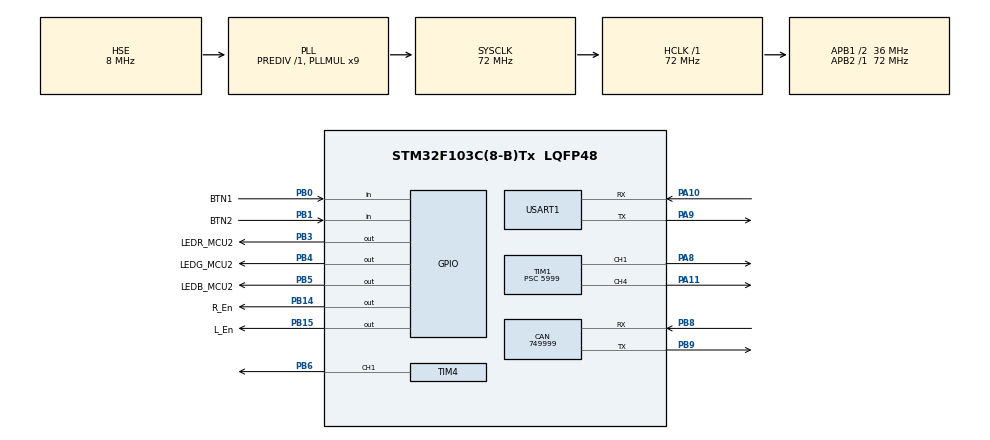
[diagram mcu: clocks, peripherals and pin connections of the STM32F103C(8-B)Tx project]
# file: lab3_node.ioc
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CAN.CalculateBaudRate=749999
CAN.CalculateTimeBit=1333
CAN.CalculateTimeQuantum=444.44444444444446
Mcu.Family=STM32F1
Mcu.Name=STM32F103C(8-B)Tx
Mcu.Package=LQFP48
NVIC.PriorityGroup=NVIC_PRIORITYGROUP_4
PA10.Mode=Asynchronous
PA10.Signal=USART1_RX
PA11.Signal=S_TIM1_CH4
PA13.Mode=Serial_Wire
PA13.Signal=SYS_JTMS-SWDIO
PA14.Mode=Serial_Wire
PA14.Signal=SYS_JTCK-SWCLK
PA8.Signal=S_TIM1_CH1
PA9.Mode=Asynchronous
PA9.Signal=USART1_TX
PB0.GPIO_Label=BTN1
PB0.GPIO_PuPd=GPIO_NOPULL
PB0.Signal=GPIO_Input
PB1.GPIO_Label=BTN2
PB1.GPIO_PuPd=GPIO_NOPULL
PB1.Signal=GPIO_Input
PB14.GPIO_Label=R_En
PB14.GPIO_Speed=GPIO_SPEED_FREQ_HIGH
PB14.Signal=GPIO_Output
PB15.GPIO_Label=L_En
PB15.GPIO_Speed=GPIO_SPEED_FREQ_HIGH
PB15.Signal=GPIO_Output
PB3.GPIO_Label=LEDR_MCU2
PB3.GPIO_Speed=GPIO_SPEED_FREQ_HIGH
PB3.Signal=GPIO_Output
PB4.GPIO_Label=LEDG_MCU2 
PB4.GPIO_Speed=GPIO_SPEED_FREQ_HIGH
PB4.Signal=GPIO_Output
PB5.GPIO_Label=LEDB_MCU2
PB5.GPIO_Speed=GPIO_SPEED_FREQ_HIGH
PB5.Signal=GPIO_Output
PB6.Signal=S_TIM4_CH1
PB8.Mode=CAN_Activate
PB8.Signal=CAN_RX
PB9.Mode=CAN_Activate
PB9.Signal=CAN_TX
PD0-OSC_IN.Mode=HSE-External-Oscillator
PD0-OSC_IN.Signal=RCC_OSC_IN
PD1-OSC_OUT.Mode=HSE-External-Oscillator
PD1-OSC_OUT.Signal=RCC_OSC_OUT
ProjectManager.HeapSize=0x200
ProjectManager.StackSize=0x400
ProjectManager.TargetToolchain=STM32CubeIDE
RCC.AHBFreq_Value=72000000
RCC.APB1CLKDivider=RCC_HCLK_DIV2
RCC.APB1Freq_Value=36000000
RCC.APB1TimFreq_Value=72000000
RCC.APB2Freq_Value=72000000
RCC.APB2TimFreq_Value=72000000
RCC.HCLKFreq_Value=72000000
RCC.PLLMUL=RCC_PLL_MUL9
RCC.PLLSourceVirtual=RCC_PLLSOURCE_HSE
RCC.SYSCLKFreq_VALUE=72000000
RCC.SYSCLKSource=RCC_SYSCLKSOURCE_PLLCLK
RCC.USBFreq_Value=72000000
SH.S_TIM1_CH1.0=TIM1_CH1,PWM Generation1 CH1
SH.S_TIM1_CH4.0=TIM1_CH4,PWM Generation4 CH4
SH.S_TIM4_CH1.0=TIM4_CH1,PWM Generation1 CH1
TIM1.Channel-PWM\ Generation1\ CH1=TIM_CHANNEL_1
TIM1.Channel-PWM\ Generation4\ CH4=TIM_CHANNEL_4
TIM1.Period=1
TIM1.Prescaler=5999
TIM4.Channel-PWM\ Generation1\ CH1=TIM_CHANNEL_1
TIM4.Period=39
TIM4.Prescaler=35999
USART1.VirtualMode=VM_ASYNC
board=custom

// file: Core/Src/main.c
/* USER CODE BEGIN Header */
/**
  ******************************************************************************
  * @file           : main.c
  * @brief          : Main program body
  ******************************************************************************
  * @attention
  *
  * Copyright (c) 2023 STMicroelectronics.
  * All rights reserved.
  *
  * This software is licensed under terms that can be found in the LICENSE file
  * in the root directory of this software component.
  * If no LICENSE file comes with this software, it is provided AS-IS.
  *
  ******************************************************************************
  */
/* USER CODE END Header */
#include "main.h"

/* USER CODE BEGIN Includes */
#include <stdio.h>
#include <string.h>
/* USER CODE END Includes */

CAN_HandleTypeDef hcan;

TIM_HandleTypeDef htim1;
TIM_HandleTypeDef htim4;

UART_HandleTypeDef huart1;

void SystemClock_Config(void);
static void MX_GPIO_Init(void);
static void MX_USART1_UART_Init(void);
static void MX_TIM1_Init(void);
static void MX_CAN_Init(void);
static void MX_TIM4_Init(void);
/* USER CODE BEGIN PFP */
void HAL_CAN_RxFifo1MsgPendingCallback(CAN_HandleTypeDef *hcan);
void run_service();

/* USER CODE END PFP */

/* USER CODE BEGIN 0 */
CAN_TxHeaderTypeDef TxHeader;
CAN_RxHeaderTypeDef RxHeader;
uint8_t TxData[8];
uint8_t RxData[8];

uint32_t TxMailbox;

int check = 0;
/* USER CODE END 0 */

int main(void)
{

  /* MCU Configuration--------------------------------------------------------*/

  /* Reset of all peripherals, Initializes the Flash interface and the Systick. */
  HAL_Init();

  /* Configure the system clock */
  SystemClock_Config();

  /* Initialize all configured peripherals */
  MX_GPIO_Init();
  MX_USART1_UART_Init();
  MX_TIM1_Init();
  MX_CAN_Init();
  MX_TIM4_Init();
  /* USER CODE BEGIN 2 */
  HAL_TIM_PWM_Start(&htim1,TIM_CHANNEL_4);
  HAL_TIM_PWM_Start(&htim4,TIM_CHANNEL_1);
  HAL_CAN_Start(&hcan);

  if (HAL_CAN_ActivateNotification(&hcan, CAN_IT_RX_FIFO1_MSG_PENDING) != HAL_OK)
    {
  	  Error_Handler();
    }

  TxHeader.DLC = 8;
  TxHeader.IDE = CAN_ID_STD;
  TxHeader.RTR = CAN_RTR_DATA;
  TxHeader.StdId = 0x012;
  /* USER CODE END 2 */

  /* Infinite loop */
  /* USER CODE BEGIN WHILE */
  TxData[0] = 3;
  TxData[1] = 6;
  while (1)
  {
    /* USER CODE END WHILE */
	  run_service();
  }
}

void SystemClock_Config(void)
{
  RCC_OscInitTypeDef RCC_OscInitStruct = {0};
  RCC_ClkInitTypeDef RCC_ClkInitStruct = {0};

  /** Initializes the RCC Oscillators according to the specified parameters
  * in the RCC_OscInitTypeDef structure.
  */
  RCC_OscInitStruct.OscillatorType = RCC_OSCILLATORTYPE_HSE;
  RCC_OscInitStruct.HSEState = RCC_HSE_ON;
  RCC_OscInitStruct.HSEPredivValue = RCC_HSE_PREDIV_DIV1;
  RCC_OscInitStruct.HSIState = RCC_HSI_ON;
  RCC_OscInitStruct.PLL.PLLState = RCC_PLL_ON;
  RCC_OscInitStruct.PLL.PLLSource = RCC_PLLSOURCE_HSE;
  RCC_OscInitStruct.PLL.PLLMUL = RCC_PLL_MUL9;
  if (HAL_RCC_OscConfig(&RCC_OscInitStruct) != HAL_OK)
  {
    Error_Handler();
  }

  /** Initializes the CPU, AHB and APB buses clocks
  */
  RCC_ClkInitStruct.ClockType = RCC_CLOCKTYPE_HCLK|RCC_CLOCKTYPE_SYSCLK
                              |RCC_CLOCKTYPE_PCLK1|RCC_CLOCKTYPE_PCLK2;
  RCC_ClkInitStruct.SYSCLKSource = RCC_SYSCLKSOURCE_PLLCLK;
  RCC_ClkInitStruct.AHBCLKDivider = RCC_SYSCLK_DIV1;
  RCC_ClkInitStruct.APB1CLKDivider = RCC_HCLK_DIV2;
  RCC_ClkInitStruct.APB2CLKDivider = RCC_HCLK_DIV1;

  if (HAL_RCC_ClockConfig(&RCC_ClkInitStruct, FLASH_LATENCY_2) != HAL_OK)
  {
    Error_Handler();
  }
}

static void MX_CAN_Init(void)
{

  hcan.Instance = CAN1;
  hcan.Init.Prescaler = 16;
  hcan.Init.Mode = CAN_MODE_NORMAL;
  hcan.Init.SyncJumpWidth = CAN_SJW_1TQ;
  hcan.Init.TimeSeg1 = CAN_BS1_1TQ;
  hcan.Init.TimeSeg2 = CAN_BS2_1TQ;
  hcan.Init.TimeTriggeredMode = DISABLE;
  hcan.Init.AutoBusOff = DISABLE;
  hcan.Init.AutoWakeUp = DISABLE;
  hcan.Init.AutoRetransmission = DISABLE;
  hcan.Init.ReceiveFifoLocked = DISABLE;
  hcan.Init.TransmitFifoPriority = DISABLE;
  if (HAL_CAN_Init(&hcan) != HAL_OK)
  {
    Error_Handler();
  }

}

static void MX_TIM1_Init(void)
{

  TIM_MasterConfigTypeDef sMasterConfig = {0};
  TIM_OC_InitTypeDef sConfigOC = {0};
  TIM_BreakDeadTimeConfigTypeDef sBreakDeadTimeConfig = {0};

  htim1.Instance = TIM1;
  htim1.Init.Prescaler = 5999;
  htim1.Init.CounterMode = TIM_COUNTERMODE_UP;
  htim1.Init.Period = 1;
  htim1.Init.ClockDivision = TIM_CLOCKDIVISION_DIV1;
  htim1.Init.RepetitionCounter = 0;
  htim1.Init.AutoReloadPreload = TIM_AUTORELOAD_PRELOAD_DISABLE;
  if (HAL_TIM_PWM_Init(&htim1) != HAL_OK)
  {
    Error_Handler();
  }
  sMasterConfig.MasterOutputTrigger = TIM_TRGO_RESET;
  sMasterConfig.MasterSlaveMode = TIM_MASTERSLAVEMODE_DISABLE;
  if (HAL_TIMEx_MasterConfigSynchronization(&htim1, &sMasterConfig) != HAL_OK)
  {
    Error_Handler();
  }
  sConfigOC.OCMode = TIM_OCMODE_PWM1;
  sConfigOC.Pulse = 0;
  sConfigOC.OCPolarity = TIM_OCPOLARITY_HIGH;
  sConfigOC.OCNPolarity = TIM_OCNPOLARITY_HIGH;
  sConfigOC.OCFastMode = TIM_OCFAST_DISABLE;
  sConfigOC.OCIdleState = TIM_OCIDLESTATE_RESET;
  sConfigOC.OCNIdleState = TIM_OCNIDLESTATE_RESET;
  if (HAL_TIM_PWM_ConfigChannel(&htim1, &sConfigOC, TIM_CHANNEL_1) != HAL_OK)
  {
    Error_Handler();
  }
  if (HAL_TIM_PWM_ConfigChannel(&htim1, &sConfigOC, TIM_CHANNEL_4) != HAL_OK)
  {
    Error_Handler();
  }
  sBreakDeadTimeConfig.OffStateRunMode = TIM_OSSR_DISABLE;
  sBreakDeadTimeConfig.OffStateIDLEMode = TIM_OSSI_DISABLE;
  sBreakDeadTimeConfig.LockLevel = TIM_LOCKLEVEL_OFF;
  sBreakDeadTimeConfig.DeadTime = 0;
  sBreakDeadTimeConfig.BreakState = TIM_BREAK_DISABLE;
  sBreakDeadTimeConfig.BreakPolarity = TIM_BREAKPOLARITY_HIGH;
  sBreakDeadTimeConfig.AutomaticOutput = TIM_AUTOMATICOUTPUT_DISABLE;
  if (HAL_TIMEx_ConfigBreakDeadTime(&htim1, &sBreakDeadTimeConfig) != HAL_OK)
  {
    Error_Handler();
  }
  HAL_TIM_MspPostInit(&htim1);

}

static void MX_TIM4_Init(void)
{

  TIM_MasterConfigTypeDef sMasterConfig = {0};
  TIM_OC_InitTypeDef sConfigOC = {0};

  htim4.Instance = TIM4;
  htim4.Init.Prescaler = 35999;
  htim4.Init.CounterMode = TIM_COUNTERMODE_UP;
  htim4.Init.Period = 39;
  htim4.Init.ClockDivision = TIM_CLOCKDIVISION_DIV1;
  htim4.Init.AutoReloadPreload = TIM_AUTORELOAD_PRELOAD_DISABLE;
  if (HAL_TIM_PWM_Init(&htim4) != HAL_OK)
  {
    Error_Handler();
  }
  sMasterConfig.MasterOutputTrigger = TIM_TRGO_RESET;
  sMasterConfig.MasterSlaveMode = TIM_MASTERSLAVEMODE_DISABLE;
  if (HAL_TIMEx_MasterConfigSynchronization(&htim4, &sMasterConfig) != HAL_OK)
  {
    Error_Handler();
  }
  sConfigOC.OCMode = TIM_OCMODE_PWM1;
  sConfigOC.Pulse = 0;
  sConfigOC.OCPolarity = TIM_OCPOLARITY_HIGH;
  sConfigOC.OCFastMode = TIM_OCFAST_DISABLE;
  if (HAL_TIM_PWM_ConfigChannel(&htim4, &sConfigOC, TIM_CHANNEL_1) != HAL_OK)
  {
    Error_Handler();
  }
  HAL_TIM_MspPostInit(&htim4);

}

static void MX_USART1_UART_Init(void)
{

  huart1.Instance = USART1;
  huart1.Init.BaudRate = 115200;
  huart1.Init.WordLength = UART_WORDLENGTH_8B;
  huart1.Init.StopBits = UART_STOPBITS_1;
  huart1.Init.Parity = UART_PARITY_NONE;
  huart1.Init.Mode = UART_MODE_TX_RX;
  huart1.Init.HwFlowCtl = UART_HWCONTROL_NONE;
  huart1.Init.OverSampling = UART_OVERSAMPLING_16;
  if (HAL_UART_Init(&huart1) != HAL_OK)
  {
    Error_Handler();
  }

}

static void MX_GPIO_Init(void)
{
  GPIO_InitTypeDef GPIO_InitStruct = {0};

  /* GPIO Ports Clock Enable */
  __HAL_RCC_GPIOD_CLK_ENABLE();
  __HAL_RCC_GPIOB_CLK_ENABLE();
  __HAL_RCC_GPIOA_CLK_ENABLE();

  /*Configure GPIO pin Output Level */
  HAL_GPIO_WritePin(GPIOB, R_En_Pin|L_En_Pin|LEDR_MCU2_Pin|LEDG_MCU2_Pin
                          |LEDB_MCU2_Pin, GPIO_PIN_RESET);

  /*Configure GPIO pins : BTN1_Pin BTN2_Pin */
  GPIO_InitStruct.Pin = BTN1_Pin|BTN2_Pin;
  GPIO_InitStruct.Mode = GPIO_MODE_INPUT;
  GPIO_InitStruct.Pull = GPIO_NOPULL;
  HAL_GPIO_Init(GPIOB, &GPIO_InitStruct);

  /*Configure GPIO pins : R_En_Pin L_En_Pin LEDR_MCU2_Pin LEDG_MCU2_Pin
                           LEDB_MCU2_Pin */
  GPIO_InitStruct.Pin = R_En_Pin|L_En_Pin|LEDR_MCU2_Pin|LEDG_MCU2_Pin
                          |LEDB_MCU2_Pin;
  GPIO_InitStruct.Mode = GPIO_MODE_OUTPUT_PP;
  GPIO_InitStruct.Pull = GPIO_NOPULL;
  GPIO_InitStruct.Speed = GPIO_SPEED_FREQ_HIGH;
  HAL_GPIO_Init(GPIOB, &GPIO_InitStruct);

}

/* USER CODE BEGIN 4 */

void HAL_CAN_RxFifo1MsgPendingCallback(CAN_HandleTypeDef *hcan)
{
  TxData[1] += 1;
  if (TxData[1] == 30) TxData[1] = 1;
  if (HAL_CAN_GetRxMessage(hcan, CAN_RX_FIFO1, &RxHeader, RxData) != HAL_OK)
  {
	Error_Handler();
  }
  if ((RxHeader.StdId == 0x0A2))
  {

  }
}

void run_service() {
	  if (check == 5) {
		  __HAL_TIM_SET_COMPARE(&htim4, TIM_CHANNEL_1, 1.0555);
		  HAL_Delay(2000);
		  __HAL_TIM_SET_COMPARE(&htim4, TIM_CHANNEL_1, 5);
		  __HAL_TIM_SET_COMPARE(&htim1, TIM_CHANNEL_4, 0);
		  HAL_Delay(10);
		  __HAL_TIM_SET_COMPARE(&htim4, TIM_CHANNEL_1, 0);
		  check = 6;
	  }
	  else if (check < 5) {
		  __HAL_TIM_SET_COMPARE(&htim1, TIM_CHANNEL_4, 100);
		  HAL_GPIO_WritePin(GPIOB, R_En_Pin, GPIO_PIN_SET);
		  HAL_GPIO_WritePin(GPIOB, L_En_Pin, GPIO_PIN_SET);
		  check++;
	  }
	  HAL_Delay(1000);
}

/* USER CODE END 4 */

void Error_Handler(void)
{
  __disable_irq();
  while (1)
  {
  }
}
